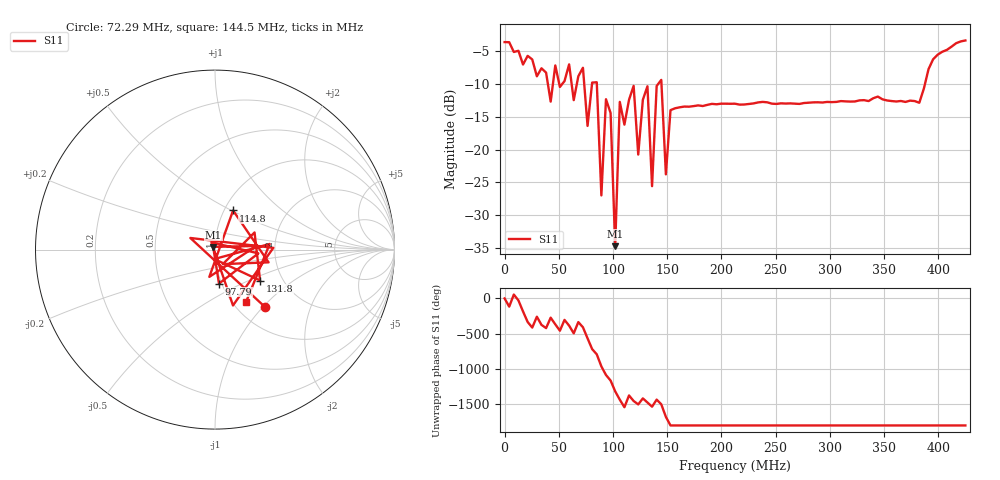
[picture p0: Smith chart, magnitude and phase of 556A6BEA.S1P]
!File created by NanoVNA
# Hz S RI R 50
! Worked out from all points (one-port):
!   101 points, 50 kHz to 425 MHz, reference 50 ohm
!   lowest |S11| = -34.7 dB at 102 MHz (marker M1), VSWR 1.04, Z = 49 + j1.5 ohm
!   |S11| at or under -10 dB: 39.99 MHz to 44.6 MHz (4.608 MHz wide, 10.9 % of centre); 85.11 MHz to 141.6 MHz (56.44 MHz wide, 49.8 % of centre); 144.7 MHz to 387.7 MHz (243 MHz wide, 91.3 % of centre) (the widest 3 of 6)
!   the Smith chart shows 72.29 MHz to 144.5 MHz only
!   S11 on the Smith chart (normalised r, x): 72.29 MHz: 1.32, -1.02; 97.79 MHz: 0.97, -0.38; 114.8 MHz: 1.10, +0.51; 131.8 MHz: 1.54, -0.58; 144.5 MHz: 1.14, -0.76
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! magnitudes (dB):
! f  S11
! 50 kHz  -3.6
! 42.55 MHz  -12.7
! 46.79 MHz  -7.1
! 55.29 MHz  -9.5
! 63.79 MHz  -12.4
! 72.29 MHz  -7.5
! 76.54 MHz  -16.4
! 85.04 MHz  -9.7
! 89.29 MHz  -27.0
! 93.54 MHz  -12.3
! 97.79 MHz  -14.4
! 102 MHz  -34.7
! 106.3 MHz  -12.7
! 114.8 MHz  -12.4
! 119 MHz  -10.3
! 123.3 MHz  -20.7
! 131.8 MHz  -10.3
! 136 MHz  -25.6
! 140.3 MHz  -10.3
! 144.5 MHz  -9.4
! 148.8 MHz  -23.8
! 153 MHz  -14.0
! 161.5 MHz  -13.5
! 212.5 MHz  -13.0
! 267.8 MHz  -13.0
! 318.8 MHz  -12.7
! 374 MHz  -12.5
! 425 MHz  -3.3
